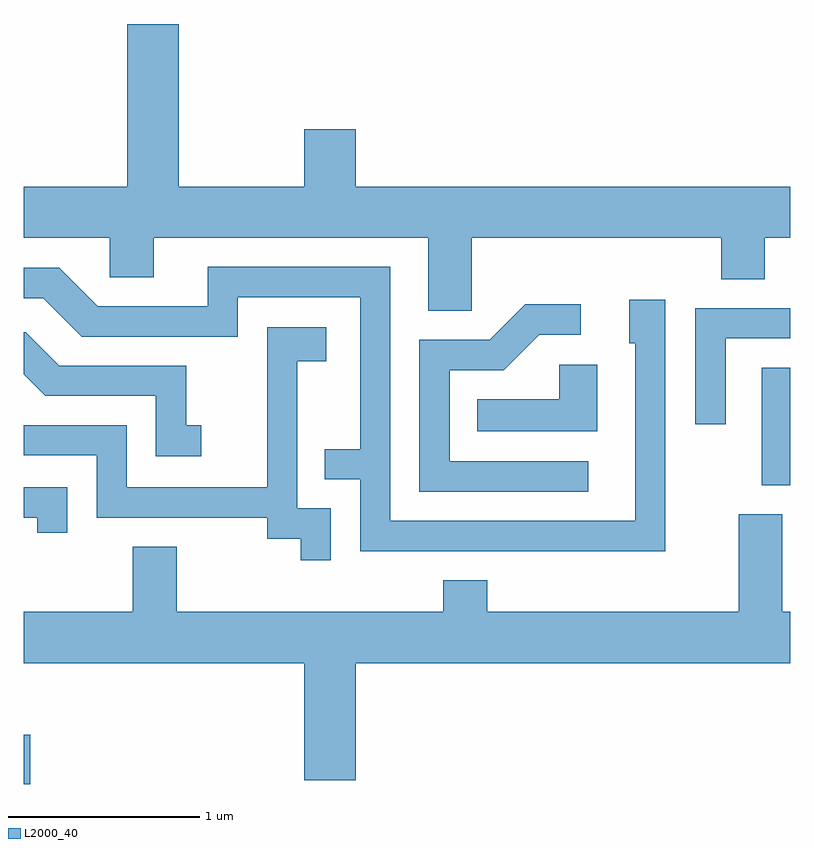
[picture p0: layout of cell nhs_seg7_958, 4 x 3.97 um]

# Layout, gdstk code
import gdstk
lib = gdstk.Library(unit=1e-6, precision=1e-09)
def R(c, l, rs):  # rectangles x0, y0, x1, y1
    for r in rs: c.add(gdstk.rectangle(r[:2], r[2:], *l))
def P(c, l, *ps):  # polygons
    for p in ps: c.add(gdstk.Polygon(p, *l))
L2000_40 = (2000, 40)

nhs_seg7_958 = lib.new_cell('nhs_seg7_958')
R(nhs_seg7_958, L2000_40, [(213.611,1780.286,213.644,1780.544), (217.461,1781.846,217.611,1782.459)])
P(nhs_seg7_958, L2000_40, [(215.949,1783.136),(217.251,1783.136),(217.251,1782.921),(217.479,1782.921),(217.479,1783.136),(217.611,1783.136),(217.611,1783.404),(215.344,1783.404),(215.344,1783.704),(215.076,1783.704),(215.076,1783.404),(214.419,1783.404),(214.419,1784.252),(214.151,1784.252),(214.151,1783.404),(213.611,1783.404),(213.611,1783.136),(214.061,1783.136),(214.061,1782.931),(214.289,1782.931),(214.289,1783.136),(215.721,1783.136),(215.721,1782.756),(215.949,1782.756)],
  [(216.959,1782.814),(216.771,1782.814),(216.771,1782.586),(216.801,1782.586),(216.801,1781.659),(215.524,1781.659),(215.524,1782.984),(214.571,1782.984),(214.571,1782.779),(213.997,1782.779),(213.797,1782.979),(213.611,1782.979),(213.611,1782.821),(213.714,1782.821),(213.914,1782.621),(214.729,1782.621),(214.729,1782.826),(215.366,1782.826),(215.366,1782.034),(215.183,1782.034),(215.183,1781.876),(215.366,1781.876),(215.366,1781.501),(216.959,1781.501)],
  [(216.558,1781.969),(215.834,1781.969),(215.834,1782.446),(216.117,1782.446),(216.302,1782.631),(216.518,1782.631),(216.518,1782.789),(216.229,1782.789),(216.044,1782.604),(215.676,1782.604),(215.676,1781.811),(216.558,1781.811)],
  [(217.274,1782.611),(217.611,1782.611),(217.611,1782.769),(217.116,1782.769),(217.116,1782.163),(217.274,1782.163)],
  [(215.214,1781.724),(215.039,1781.724),(215.039,1782.491),(215.189,1782.491),(215.189,1782.669),(214.881,1782.669),(214.881,1781.834),(214.149,1781.834),(214.149,1782.159),(213.611,1782.159),(213.611,1782.001),(213.991,1782.001),(213.991,1781.676),(214.881,1781.676),(214.881,1781.566),(215.056,1781.566),(215.056,1781.453),(215.214,1781.453)],
  [(214.538,1782.159),(214.459,1782.159),(214.459,1782.469),(213.797,1782.469),(213.622,1782.644),(213.611,1782.644),(213.611,1782.424),(213.724,1782.311),(214.301,1782.311),(214.301,1781.996),(214.538,1781.996)],
  [(216.604,1782.474),(216.406,1782.474),(216.406,1782.294),(215.978,1782.294),(215.978,1782.126),(216.604,1782.126)],
  [(213.839,1781.834),(213.611,1781.834),(213.611,1781.676),(213.681,1781.676),(213.681,1781.598),(213.839,1781.598)],
  [(215.344,1780.916),(217.611,1780.916),(217.611,1781.184),(217.569,1781.184),(217.569,1781.694),(217.341,1781.694),(217.341,1781.184),(216.029,1781.184),(216.029,1781.349),(215.801,1781.349),(215.801,1781.184),(214.409,1781.184),(214.409,1781.524),(214.181,1781.524),(214.181,1781.184),(213.611,1781.184),(213.611,1780.916),(215.076,1780.916),(215.076,1780.306),(215.344,1780.306)])

lib.write_gds('nhs_seg7_958.gds')
